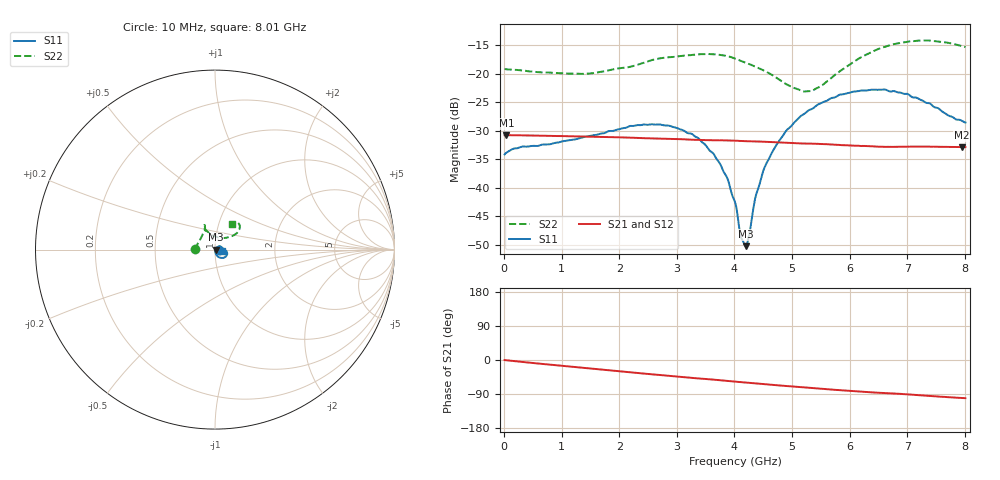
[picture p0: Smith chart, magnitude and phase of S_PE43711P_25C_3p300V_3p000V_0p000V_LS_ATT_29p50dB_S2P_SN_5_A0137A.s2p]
! Device ID: PE43711P
! File Path: z:\PE43711P\CHAR_NOM_04282014\AMB\3p300\LS_ATT_29p50dB\PE43711P_AMB_3p300V_3p000V_0p000V_LS_ATT_29p50dB_S2P_SN_5_A0137A.s2p
! Serial: 5
! Lot: A0137A
! Temp: 25C
! VDD: 3.300
! VSS: 0.000
! Control_Hi: 3.000
! Control_Lo: 0.000
! Attenuation Step: 29.50dB
! Port 1: RF1
! Port 2: RF2
! ThroughPath:1-2
! IDD: 0.0001278961
! ISS: -8.72e-008
#  Hz  S  RI  R  50
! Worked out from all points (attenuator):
!   801 points, 10 MHz to 8.01 GHz, reference 50 ohm
!   highest |S21| = -30.76 dB at 40 MHz (marker M1); lowest = -32.9 dB at 7.95 GHz (marker M2)
!   lowest |S11| = -50.3 dB at 4.2 GHz (marker M3), VSWR 1.01, Z = 50.3 - j0.125 ohm
!   |S11| at or under -10 dB: start of sweep to end of sweep
!   |S22| runs from -23.1 to -14.1 dB; largest |S21 - S12| = 8.7e-05
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1e7  0.0196 0.000538  0.029 -0.000107  0.029 -0.000105  -0.1105 0.00088
4e7  0.0203 0.00112  0.029 -0.000331  0.029 -0.000341  -0.1098 0.0025
1.35e9  0.0266 0.00714  0.0265 -0.00985  0.0265 -0.00985  -0.0837 0.0547
2.2e9  0.0326 0.0125  0.0231 -0.0149  0.0232 -0.0149  -0.06 0.0991
2.68e9  0.032 0.0167  0.021 -0.0171  0.021 -0.0171  -0.0559 0.1246
3.25e9  0.0236 0.0184  0.018 -0.0194  0.018 -0.0194  -0.0564 0.1352
3.49e9  0.0173 0.0166  0.0169 -0.0201  0.0168 -0.0201  -0.0595 0.1369
3.76e9  0.0102 0.0122  0.0155 -0.021  0.0155 -0.021  -0.0627 0.1328
3.88e9  0.00751 0.00936  0.0148 -0.0213  0.0148 -0.0214  -0.0631 0.1284
4.01e9  0.00518 0.00538  0.0141 -0.0217  0.0141 -0.0217  -0.062 0.1218
4.12e9  0.00338 0.00115  0.0135 -0.022  0.0135 -0.022  -0.0585 0.1157
4.2e9  0.00281 -0.00124  0.013 -0.0221  0.013 -0.0221  -0.0553 0.1121
4.25e9  0.00223 -0.003  0.0127 -0.0222  0.0127 -0.0222  -0.053 0.1102
4.38e9  0.00174 -0.00867  0.0121 -0.0225  0.0121 -0.0225  -0.0473 0.1047
4.55e9  0.00275 -0.0159  0.0111 -0.0228  0.011 -0.0228  -0.0388 0.0971
4.9e9  0.00873 -0.0305  0.00908 -0.0231  0.00906 -0.0232  -0.0148 0.0798
5.35e9  0.0242 -0.043  0.00677 -0.0234  0.00675 -0.0234  0.0273 0.0656
5.85e9  0.0478 -0.0455  0.00418 -0.0233  0.00416 -0.0233  0.0807 0.0705
6.68e9  0.0673 -0.0215  0.000885 -0.0228  0.000931 -0.0229  0.1355 0.1144
7.3e9  0.0566 -0.00437  -0.00152 -0.0229  -0.00152 -0.0229  0.1307 0.147
7.95e9  0.0384 -0.00483  -0.00404 -0.0224  -0.00403 -0.0224  0.0963 0.1466
8.01e9  0.0368 -0.00649  -0.00423 -0.0224  -0.00425 -0.0224  0.0934 0.144
